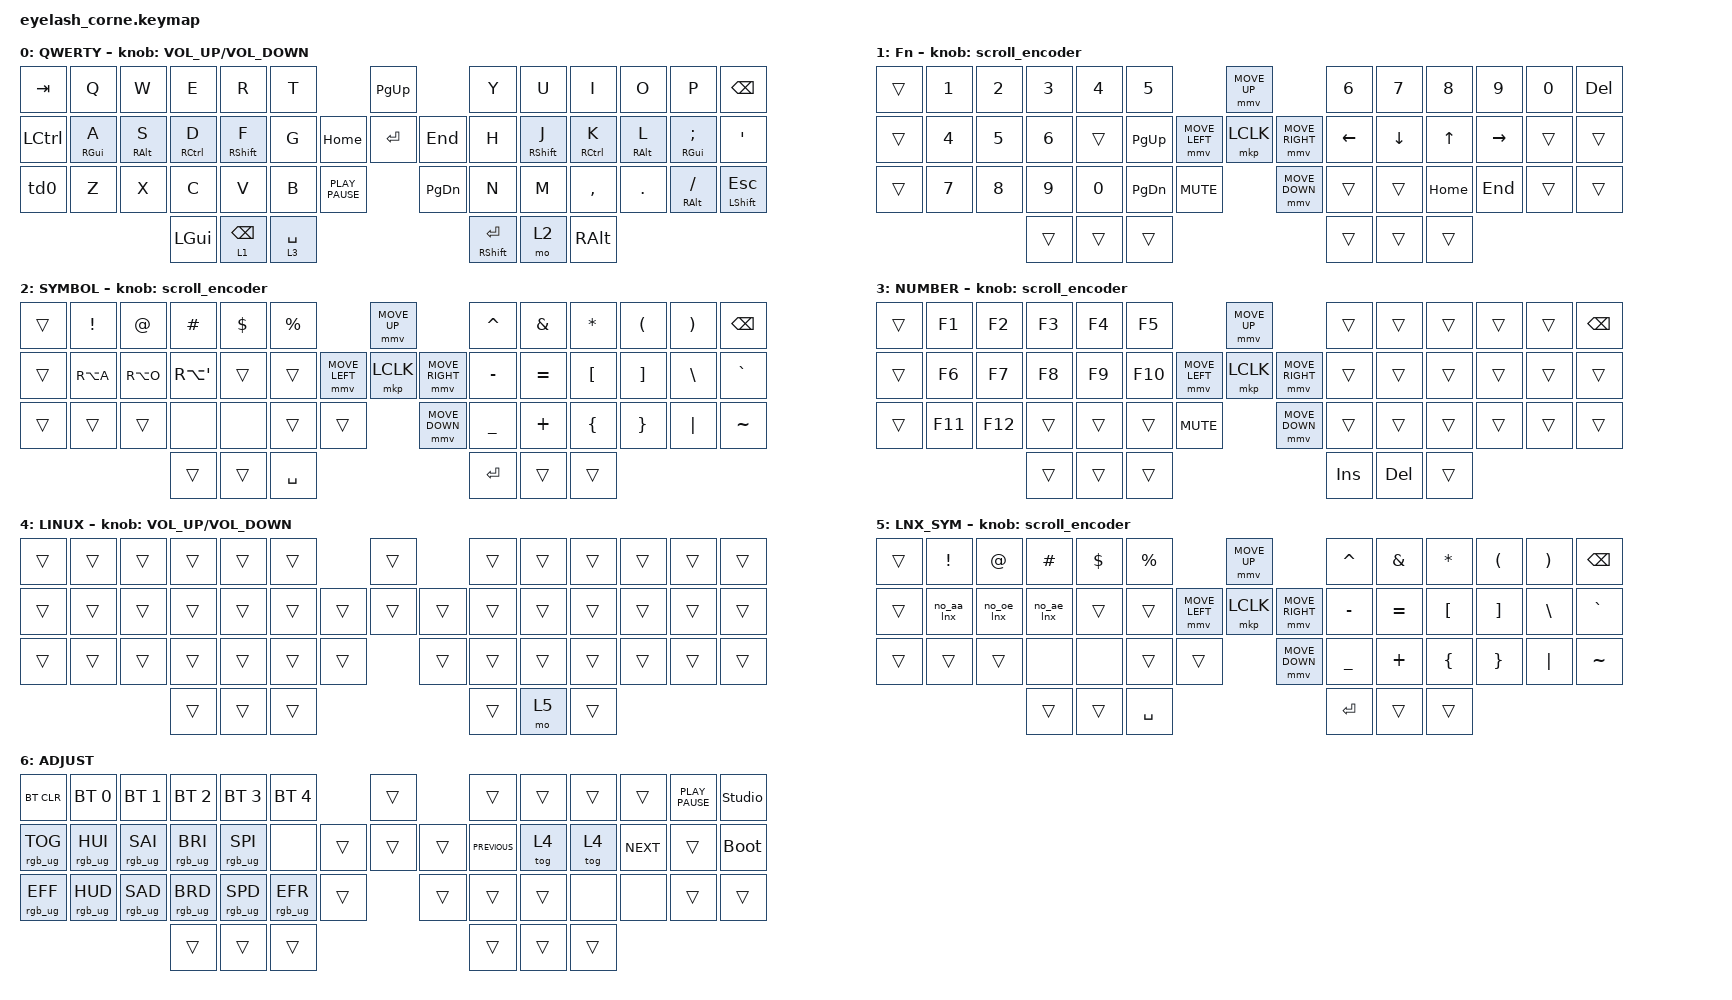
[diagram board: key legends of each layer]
#define ZMK_POINTING_DEFAULT_MOVE_VAL 1200  // 600
#define ZMK_POINTING_DEFAULT_SCRL_VAL 25   // 10

#include <input/processors.dtsi>
#include <zephyr/dt-bindings/input/input-event-codes.h>
#include <behaviors.dtsi>
#include <dt-bindings/zmk/bt.h>
#include <dt-bindings/zmk/keys.h>
#include <dt-bindings/zmk/pointing.h>
#include <dt-bindings/zmk/rgb.h>

&mmv_input_listener { input-processors = <&zip_xy_scaler 2 1>; };

&msc_input_listener { input-processors = <&zip_scroll_scaler 2 1>; };

&msc {
    acceleration-exponent = <1>;      // 0
    time-to-max-speed-ms = <100>;       // 300
    delay-ms = <0>;                   // 0
};

&mmv {
    time-to-max-speed-ms = <500>;
    acceleration-exponent = <1>;
    trigger-period-ms = <16>;
};

&soft_off { hold-time-ms = <2000>; };

/ {
    behaviors {
        hml: home_row_mod_left {
            compatible = "zmk,behavior-hold-tap";
            #binding-cells = <2>;
            flavor = "balanced";
            require-prior-idle-ms = <150>;
            tapping-term-ms = <280>;
            quick-tap-ms = <175>;
            bindings = <&kp>, <&kp>;
            hold-trigger-key-positions = <6 7 8 9 10 11 12 19 20 21 22 23 24 25 26 27 35 36 37 38 39 40 41 45 46 47>;
            hold-trigger-on-release;
        };

        hmr: home_row_mod_right {
            compatible = "zmk,behavior-hold-tap";
            #binding-cells = <2>;
            flavor = "balanced";
            require-prior-idle-ms = <150>;
            tapping-term-ms = <280>;
            quick-tap-ms = <175>;
            bindings = <&kp>, <&kp>;
            hold-trigger-key-positions = <0 1 2 3 4 5 6 13 14 15 16 17 18 19 20 21 28 29 30 31 32 33 34 35 42 43 44>;
            hold-trigger-on-release;
        };

        td0: td0 {
            compatible = "zmk,behavior-tap-dance";
            display-name = "Shift/Caps Lock Tap Dance";
            #binding-cells = <0>;
            bindings = <&kp LEFT_SHIFT>, <&kp CAPS>;

            label = "shift-caps-tap";
        };

        // Linux: tap Scroll Lock to switch to Norwegian group, type key, switch back

        no_aa_lnx: no_aa_lnx {
            compatible = "zmk,behavior-macro";
            #binding-cells = <0>;
            bindings = <&kp SCROLLLOCK &kp LBKT &kp SCROLLLOCK>;
        };

        no_oe_lnx: no_oe_lnx {
            compatible = "zmk,behavior-macro";
            #binding-cells = <0>;
            bindings = <&kp SCROLLLOCK &kp SEMI &kp SCROLLLOCK>;
        };

        no_ae_lnx: no_ae_lnx {
            compatible = "zmk,behavior-macro";
            #binding-cells = <0>;
            bindings = <&kp SCROLLLOCK &kp SQT &kp SCROLLLOCK>;
        };
    };

    rgb_encoder: rgb_encoder {
        compatible = "zmk,behavior-sensor-rotate";
        #sensor-binding-cells = <0>;
        bindings = <&rgb_ug RGB_BRI>, <&rgb_ug RGB_BRD>;
    };

    scroll_encoder: scroll_encoder {
        compatible = "zmk,behavior-sensor-rotate";
        #sensor-binding-cells = <0>;
        bindings = <&msc SCRL_DOWN>, <&msc SCRL_UP>;

        tap-ms = <100>;
    };

    combos {
        compatible = "zmk,combos";

        softoff {
            bindings = <&soft_off>;
            key-positions = <1 15 29>;
        };
    };

    macros {
    };

    keymap {
        compatible = "zmk,keymap";

        default_layer {
            display-name = "QWERTY";
            bindings = <
&kp TAB    &kp Q  &kp W  &kp E     &kp R            &kp T                                      &kp PAGE_UP             &kp Y            &kp U  &kp I      &kp O    &kp P                &kp BSPC
&kp LCTRL  &hml RGUI A  &hml RALT S  &hml RCTRL D  &hml RSHFT F  &kp G                            &kp HOME  &kp ENTER      &kp END  &kp H            &hmr RSHFT J  &hmr RCTRL K  &hmr RALT L  &hmr RGUI SEMICOLON  &kp SQT
&td0       &kp Z  &kp X  &kp C     &kp V            &kp B        &kp K_PLAY_PAUSE              &kp PAGE_DOWN           &kp N            &kp M  &kp COMMA  &kp DOT  &mt RIGHT_ALT SLASH  &mt LEFT_SHIFT ESCAPE
                         &kp LGUI  &lt 1 BACKSPACE  &lt 3 SPACE                                                        &mt RSHFT ENTER  &mo 2  &kp RALT
            >;

            sensor-bindings = <&inc_dec_kp C_VOLUME_UP C_VOLUME_DOWN>;
        };

        raise {
            display-name = "Fn";
            bindings = <
&trans  &kp NUMBER_1  &kp NUMBER_2  &kp NUMBER_3  &kp NUMBER_4  &kp N5                                       &mmv MOVE_UP                     &kp NUMBER_6  &kp N7          &kp NUMBER_8  &kp N9     &kp N0  &kp DELETE
&trans  &kp NUMBER_4  &kp N5        &kp NUMBER_6  &trans        &kp PAGE_UP                  &mmv MOVE_LEFT  &mkp LCLK       &mmv MOVE_RIGHT  &kp LEFT      &kp DOWN_ARROW  &kp UP_ARROW  &kp RIGHT  &trans  &trans
&trans  &kp N7        &kp N8        &kp N9        &kp N0        &kp PAGE_DOWN  &kp C_MUTE                    &mmv MOVE_DOWN                   &trans        &trans          &kp HOME      &kp END    &trans  &trans
                                    &trans        &trans        &trans                                                                        &trans        &trans          &trans
            >;

            sensor-bindings = <&scroll_encoder>;
        };

        raise_layer {
            display-name = "SYMBOL";
            bindings = <
&trans  &kp EXCL   &kp AT     &kp HASH     &kp DLLR  &kp PRCNT                            &mmv MOVE_UP                     &kp CARET  &kp AMPS   &kp ASTRK  &kp LPAR  &kp RPAR  &kp BSPC
&trans  &kp RA(A)  &kp RA(O)  &kp RA(SQT)  &trans    &trans               &mmv MOVE_LEFT  &mkp LCLK       &mmv MOVE_RIGHT  &kp MINUS  &kp EQUAL  &kp LBKT   &kp RBKT  &kp BSLH  &kp GRAVE
&trans  &trans     &trans     &none        &none     &trans     &trans                    &mmv MOVE_DOWN                   &kp UNDER  &kp PLUS   &kp LBRC   &kp RBRC  &kp PIPE  &kp TILDE
                              &trans       &trans    &kp SPACE                                                             &kp RET    &trans     &trans
            >;

            sensor-bindings = <&scroll_encoder>;
        };

        number_layer {
            display-name = "NUMBER";
            bindings = <
&trans  &kp F1   &kp F2   &kp F3  &kp F4  &kp F5                                 &mmv MOVE_UP                     &trans   &trans   &trans  &trans  &trans  &kp BSPC
&trans  &kp F6   &kp F7   &kp F8  &kp F9  &kp F10                &mmv MOVE_LEFT  &mkp LCLK       &mmv MOVE_RIGHT  &trans   &trans   &trans  &trans  &trans  &trans
&trans  &kp F11  &kp F12  &trans  &trans  &trans   &kp C_MUTE                    &mmv MOVE_DOWN                   &trans   &trans   &trans  &trans  &trans  &trans
                          &trans  &trans  &trans                                                                  &kp INS  &kp DEL  &trans
            >;

            sensor-bindings = <&scroll_encoder>;
        };

        linux_flag {
            display-name = "LINUX";

            // Flag layer: toggled on/off to enable linux Norwegian characters.
            // Overrides mo 2 with mo 6 so the linux symbol layer is used instead.

            bindings = <
&trans  &trans  &trans  &trans  &trans  &trans                    &trans          &trans  &trans  &trans  &trans  &trans  &trans
&trans  &trans  &trans  &trans  &trans  &trans            &trans  &trans  &trans  &trans  &trans  &trans  &trans  &trans  &trans
&trans  &trans  &trans  &trans  &trans  &trans  &trans            &trans          &trans  &trans  &trans  &trans  &trans  &trans
                        &trans  &trans  &trans                                    &trans  &mo 5  &trans
            >;

            sensor-bindings = <&inc_dec_kp C_VOLUME_UP C_VOLUME_DOWN>;
        };

        linux_scand {
            display-name = "LNX_SYM";

            // Full symbol layer with Norwegian chars via Scroll Lock sequences.

            bindings = <
&trans  &kp EXCL    &kp AT      &kp HASH     &kp DLLR  &kp PRCNT                            &mmv MOVE_UP                     &kp CARET  &kp AMPS   &kp ASTRK  &kp LPAR  &kp RPAR  &kp BSPC
&trans  &no_aa_lnx  &no_oe_lnx  &no_ae_lnx   &trans    &trans               &mmv MOVE_LEFT  &mkp LCLK       &mmv MOVE_RIGHT  &kp MINUS  &kp EQUAL  &kp LBKT   &kp RBKT  &kp BSLH  &kp GRAVE
&trans  &trans      &trans      &none         &none     &trans     &trans                    &mmv MOVE_DOWN                   &kp UNDER  &kp PLUS   &kp LBRC   &kp RBRC  &kp PIPE  &kp TILDE
                                &trans        &trans    &kp SPACE                                                             &kp RET    &trans     &trans
            >;

            sensor-bindings = <&scroll_encoder>;
        };

        layer_4 {
            bindings = <
&bt BT_CLR       &bt BT_SEL 0     &bt BT_SEL 1     &bt BT_SEL 2     &bt BT_SEL 3     &bt BT_SEL 4                       &trans          &trans          &trans  &trans  &trans      &kp K_PLAY_PAUSE  &studio_unlock
&rgb_ug RGB_TOG  &rgb_ug RGB_HUI  &rgb_ug RGB_SAI  &rgb_ug RGB_BRI  &rgb_ug RGB_SPI  &none                      &trans  &trans  &trans  &kp K_PREVIOUS  &tog 4  &tog 4  &kp K_NEXT  &trans            &bootloader
&rgb_ug RGB_EFF  &rgb_ug RGB_HUD  &rgb_ug RGB_SAD  &rgb_ug RGB_BRD  &rgb_ug RGB_SPD  &rgb_ug RGB_EFR  &trans            &trans          &trans          &trans  &none   &none       &trans            &trans
                                                   &trans           &trans           &trans                                             &trans          &trans  &trans
            >;

            label = "ADJUST";
        };
    };

    conditional_layers {
        compatible = "zmk,conditional-layers";

        Adjust {
            if-layers = <1 2>;
            then-layer = <6>;
        };

        AdjustLinux {
            if-layers = <1 5>;
            then-layer = <6>;
        };
    };
};
